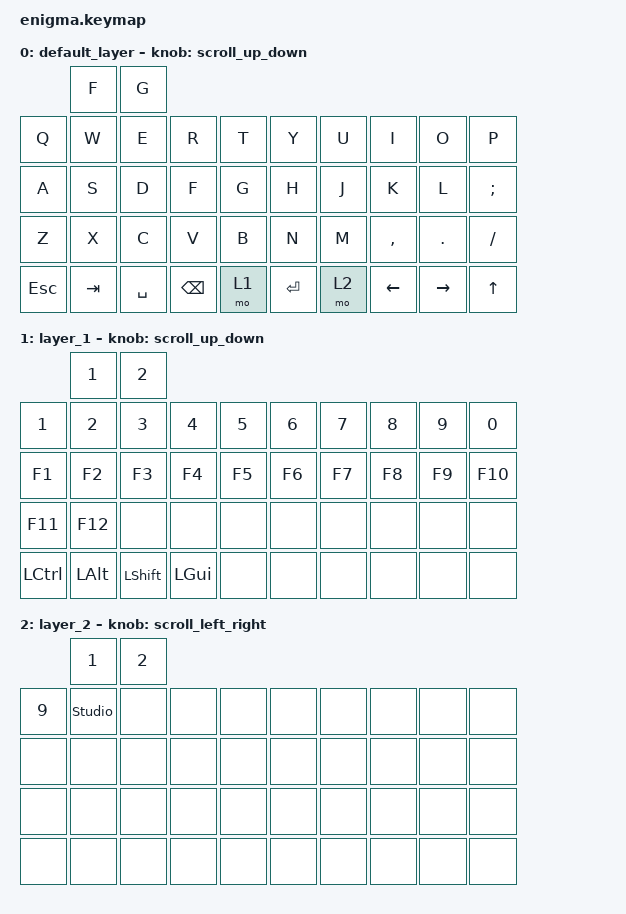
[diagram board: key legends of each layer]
#include <dt-bindings/zmk/keys.h>
#include <behaviors.dtsi>
#include <dt-bindings/zmk/pointing.h>

#define ZMK_POINTING_DEFAULT_SCRL_VAL 100

/ {
    behaviors {
        scroll_up_down: behavior_sensor_rotate_mouse_wheel_up_down {
            compatible = "zmk,behavior-sensor-rotate";
            #sensor-binding-cells = <0>;
            bindings = <&msc SCRL_UP>, <&msc SCRL_DOWN>;
            tap-ms = <20>;
        };

        scroll_left_right: behavior_sensor_rotate_mouse_wheel_left_right {
            compatible = "zmk,behavior-sensor-rotate";
            #sensor-binding-cells = <0>;
            bindings = <&msc SCRL_LEFT>, <&msc SCRL_RIGHT>;
            tap-ms = <20>;
        };
    };

    keymap {
        compatible = "zmk,keymap";

        // レイヤー0（デフォルト）: 上下スクロール
        default_layer {
            bindings = <
                &kp F &kp G
                &kp Q &kp W &kp E &kp R &kp T &kp Y &kp U &kp I &kp O &kp P
                &kp A &kp S &kp D &kp F &kp G &kp H &kp J &kp K &kp L &kp SEMI
                &kp Z &kp X &kp C &kp V &kp B &kp N &kp M &kp COMMA &kp DOT &kp SLASH
                &kp ESC &kp TAB &kp SPC &kp BSPC &mo 1 &kp ENTER &mo 2 &kp LEFT &kp RIGHT &kp UP
            >;
            sensor-bindings = <&scroll_up_down>; 
        };

        // レイヤー1: 上下スクロール
        layer_1 {
            bindings = <
                &kp 1 &kp 2
                &kp 1 &kp 2 &kp 3 &kp 4 &kp 5 &kp 6 &kp 7 &kp 8 &kp 9 &kp 0
                &kp F1 &kp F2 &kp F3 &kp F4 &kp F5 &kp F6 &kp F7 &kp F8 &kp F9 &kp F10
                &kp F11 &kp F12 &none &none &none &none &none &none &none &none
                &kp LCTL &kp LALT &kp LSHFT &kp LGUI &none &none &none &none &none &none
            >;
            sensor-bindings = <&scroll_up_down>; 
        };

        // レイヤー2: 左右スクロール
        layer_2 {
            bindings = <
                &kp 1 &kp 2
                &kp 9 &studio_unlock &none &none &none &none &none &none &none &none
                &none &none &none &none &none &none &none &none &none &none
                &none &none &none &none &none &none &none &none &none &none
                &none &none &none &none &none &none &none &none &none &none
            >;
            sensor-bindings = <&scroll_left_right>; 
        };
    };
};
